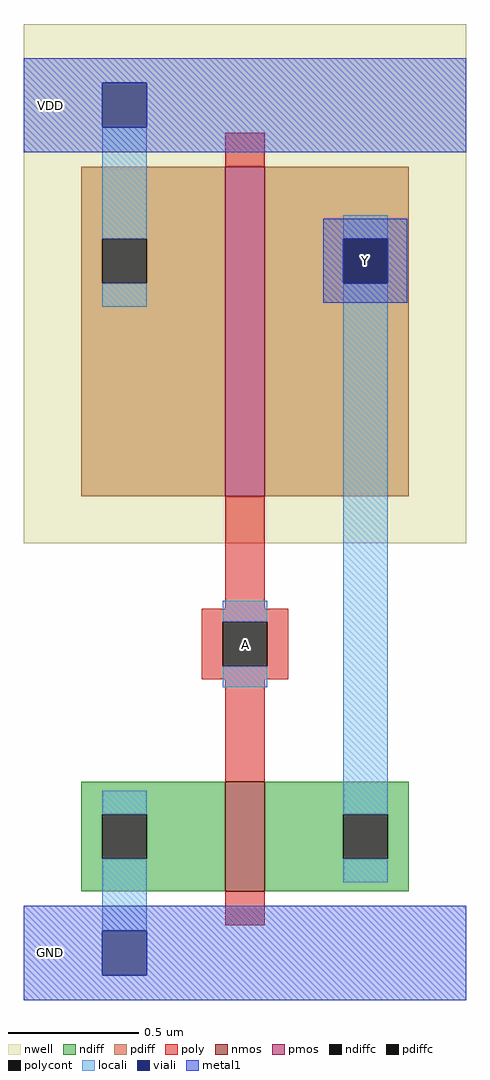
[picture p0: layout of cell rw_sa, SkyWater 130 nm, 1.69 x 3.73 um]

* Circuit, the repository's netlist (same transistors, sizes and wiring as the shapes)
* NGSPICE file created from rw_sa.ext - technology: sky130A

.subckt rw_sa A Y VDD GND
X0 Y A GND VSUBS sky130_fd_pr__nfet_01v8 ad=0.231 pd=1.94 as=0.231 ps=1.94 w=0.42 l=0.15
X1 Y A VDD w_0_313# sky130_fd_pr__pfet_01v8 ad=0.693 pd=3.62 as=0.693 ps=3.62 w=1.26 l=0.15
.ends

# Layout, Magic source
magic
tech sky130A
magscale 1 2
<< nwell >>
rect 0 313 338 710
<< nmos >>
rect 154 47 184 131
<< pmos >>
rect 154 349 184 601
<< ndiff >>
rect 44 106 154 131
rect 44 72 60 106
rect 94 72 154 106
rect 44 47 154 72
rect 184 106 294 131
rect 184 72 244 106
rect 278 72 294 106
rect 184 47 294 72
<< pdiff >>
rect 44 546 154 601
rect 44 512 60 546
rect 94 512 154 546
rect 44 349 154 512
rect 184 546 294 601
rect 184 512 244 546
rect 278 512 294 546
rect 184 349 294 512
<< ndiffc >>
rect 60 72 94 106
rect 244 72 278 106
<< pdiffc >>
rect 60 512 94 546
rect 244 512 278 546
<< poly >>
rect 154 601 184 627
rect 154 263 184 349
rect 136 253 202 263
rect 136 219 152 253
rect 186 219 202 253
rect 136 209 202 219
rect 154 131 184 209
rect 154 21 184 47
<< polycont >>
rect 152 219 186 253
<< locali >>
rect 60 546 94 631
rect 60 494 94 512
rect 244 546 278 564
rect 152 253 186 269
rect 152 203 186 219
rect 60 106 94 124
rect 60 17 94 72
rect 244 106 278 512
rect 244 54 278 72
<< viali >>
rect 60 631 94 665
rect 244 512 278 546
rect 60 -17 94 17
<< metal1 >>
rect 0 665 338 684
rect 0 631 60 665
rect 94 631 338 665
rect 0 612 338 631
rect 229 546 293 561
rect 229 512 244 546
rect 278 512 293 546
rect 229 497 293 512
rect 0 17 338 36
rect 0 -17 60 17
rect 94 -17 338 17
rect 0 -36 338 -17
<< labels >>
rlabel polycont 169 236 169 236 0 A
port 1 nsew
rlabel viali 261 529 261 529 0 Y
port 2 nsew
rlabel metal1 20 648 20 648 0 VDD
port 3 nsew
rlabel metal1 20 0 20 0 0 GND
port 4 nsew
<< end >>
